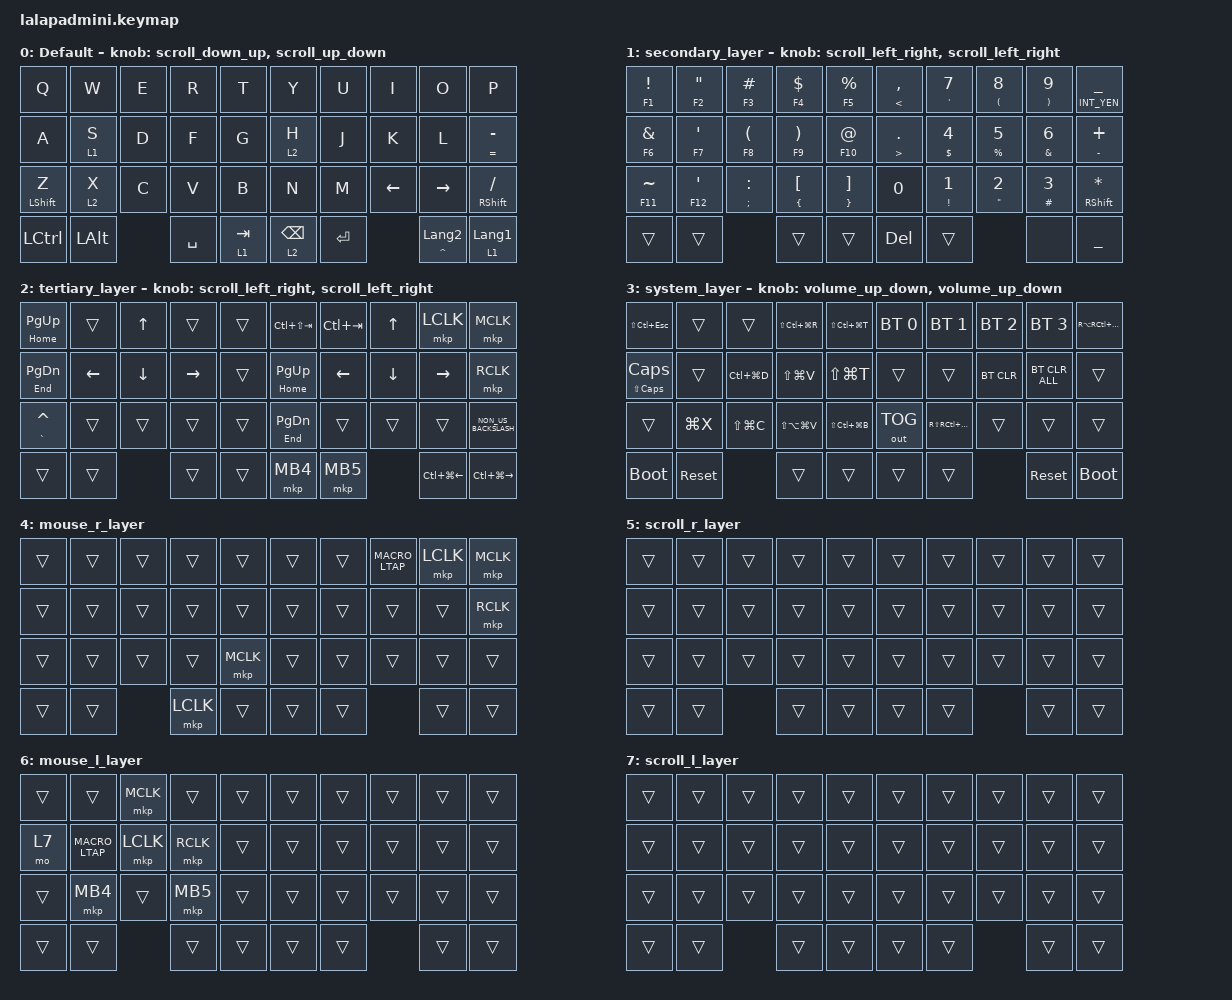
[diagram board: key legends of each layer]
#include <input/processors.dtsi>
#include <behaviors.dtsi>
#include <dt-bindings/zmk/bt.h>
#include <dt-bindings/zmk/keys.h>
#include <dt-bindings/zmk/outputs.h>
#include <dt-bindings/zmk/pointing.h>

#define DEFAULT_LAYER   0
#define SECONDARY_LAYER 1
#define TERTIARY_LAYER  2
#define SYSTEM_LAYER    3
#define MOUSE_R_LAYER   4
#define SCROLL_R_LAYER  5
#define MOUSE_L_LAYER   6
#define SCROLL_L_LAYER  7

// Mouse Scroll Value

#define ZMK_POINTING_DEFAULT_SCRL_VAL 100

// cirque trackpad input&layer control

&glidepoint_listener_R {
    input-processors =
        <&zip_xy_transform (INPUT_TRANSFORM_XY_SWAP | INPUT_TRANSFORM_X_INVERT | INPUT_TRANSFORM_Y_INVERT)>,
        <&zip_xy_scaler 3 2>,
        <&zip_temp_layer MOUSE_R_LAYER 300>;

    lowspeedmode {
        layers = <SECONDARY_LAYER>;
        input-processors =
            <&zip_xy_transform (INPUT_TRANSFORM_XY_SWAP | INPUT_TRANSFORM_X_INVERT | INPUT_TRANSFORM_Y_INVERT)>,
            <&zip_xy_scaler 3 5>,
            <&zip_temp_layer MOUSE_R_LAYER 300>;
    };

    scroller {
        layers = <SCROLL_R_LAYER>;
        input-processors =
            <&zip_xy_to_scroll_mapper>,
            <&zip_scroll_transform (INPUT_TRANSFORM_XY_SWAP | INPUT_TRANSFORM_Y_INVERT)>,
            <&zip_scroll_scaler 1 32>;
    };
};

&glidepoint_listener_L {
    input-processors =
        <&zip_xy_transform (INPUT_TRANSFORM_XY_SWAP | INPUT_TRANSFORM_X_INVERT | INPUT_TRANSFORM_Y_INVERT)>,
        <&zip_xy_scaler 3 2>,
        <&zip_temp_layer MOUSE_L_LAYER 300>;

    lowspeedmode {
        layers = <TERTIARY_LAYER>;
        input-processors =
            <&zip_xy_transform (INPUT_TRANSFORM_XY_SWAP | INPUT_TRANSFORM_X_INVERT | INPUT_TRANSFORM_Y_INVERT)>,
            <&zip_xy_scaler 3 4>,
            <&zip_temp_layer MOUSE_L_LAYER 300>;
    };

    scroller {
        layers = <SCROLL_L_LAYER>;
        input-processors =
            <&zip_xy_to_scroll_mapper>,
            <&zip_scroll_transform (INPUT_TRANSFORM_XY_SWAP | INPUT_TRANSFORM_Y_INVERT)>,
            <&zip_scroll_scaler 1 32>;
    };
};

&mt { quick-tap-ms = <200>; };

&lt { quick-tap-ms = <200>; };

/ {
    behaviors {
        // Encoder to Mouse Scroll

        scroll_up_down: behavior_sensor_rotate_mouse_wheel_up_down {
            compatible = "zmk,behavior-sensor-rotate";
            #sensor-binding-cells = <0>;
            bindings = <&msc SCRL_UP>, <&msc SCRL_DOWN>;

            tap-ms = <20>;
        };

        scroll_down_up: behavior_sensor_rotate_mouse_wheel_down_up {
            compatible = "zmk,behavior-sensor-rotate";
            #sensor-binding-cells = <0>;
            bindings = <&msc SCRL_DOWN>, <&msc SCRL_UP>;

            tap-ms = <20>;
        };

        scroll_left_right: behavior_sensor_rotate_mouse_wheel_left_right {
            compatible = "zmk,behavior-sensor-rotate";
            #sensor-binding-cells = <0>;
            bindings = <&msc SCRL_LEFT>, <&msc SCRL_RIGHT>;

            tap-ms = <20>;
        };

        scroll_right_left: behavior_sensor_rotate_mouse_wheel_right_left {
            compatible = "zmk,behavior-sensor-rotate";
            #sensor-binding-cells = <0>;
            bindings = <&msc SCRL_RIGHT>, <&msc SCRL_LEFT>;

            tap-ms = <20>;
        };

        volume_up_down: behavior_sensor_rotate_volume_up_down {
            compatible = "zmk,behavior-sensor-rotate";
            #sensor-binding-cells = <0>;
            bindings = <&kp C_VOLUME_UP>, <&kp C_VOLUME_DOWN>;

            tap-ms = <20>;
        };

        mt2: mod_tap2 {
            compatible = "zmk,behavior-hold-tap";
            #binding-cells = <2>;
            flavor = "tap-preferred";
            tapping-term-ms = <200>;
            quick-tap-ms = <200>;
            require-prior-idle-ms = <125>;
            bindings = <&kp>, <&kp>;
        };

        tap_dance_layer_1and2: tap_dance_layer_1and2 {
            compatible = "zmk,behavior-tap-dance";
            label = "td_mo12";
            #binding-cells = <0>;
            bindings = <&mo 1>, <&mo 2>;
        };
    };

    combos {
        compatible = "zmk,combos";

        CONBO_ESC {
            bindings = <&kp ESCAPE>;
            key-positions = <0 1>;
        };

        COMBO_TAB {
            bindings = <&kp TAB>;
            key-positions = <10 11>;
        };

        COMBO_WIN {
            bindings = <&kp LWIN>;
            key-positions = <30 31>;
        };

        ACT-WIN-PSCEN {
            bindings = <&kt LA(LG(PRINTSCREEN))>;
            key-positions = <34 37>;
        };
    };

    macros {
        MACRO_LTAP: MACRO_LTAP {
            compatible = "zmk,behavior-macro";
            #binding-cells = <0>;
            bindings = <&mkp LCLK>;
            label = "MACRO_LTAP";
        };
    };

    keymap {
        compatible = "zmk,keymap";

        DEFAULT_LAYER {
            display-name = "Default";
            sensor-bindings = <&scroll_down_up>, <&scroll_up_down>;

            bindings = <
&kp Q             &kp W         &kp E  &kp R      &kp T      &kp Y            &kp U      &kp I           &kp O                 &kp P
&kp A             &lt 1 S       &kp D  &kp F      &kp G      &lt 2 H          &kp J      &kp K           &kp L                 &mt2 EQUAL MINUS
&mt LEFT_SHIFT Z  &lt 2 X       &kp C  &kp V      &kp B      &kp N            &kp M      &kp LEFT_ARROW  &kp RIGHT_ARROW       &mt RSHIFT SLASH
&kp LCTRL         &kp LEFT_ALT         &kp SPACE  &lt 1 TAB  &lt 2 BACKSPACE  &kp ENTER                  &mt CARET LANGUAGE_2  &lt 1 LANGUAGE_1
            >;
        };

        SECONDARY_LAYER {
            display-name = "secondary_layer";
            sensor-bindings = <&scroll_left_right>, <&scroll_left_right>;

            bindings = <
&mt2 F1 EXCLAMATION  &mt2 F2 DOUBLE_QUOTES  &mt2 F3 HASH              &mt2 F4 DOLLAR                &mt2 F5 PERCENT                 &mt LESS_THAN COMMA      &mt SQT N7                &mt LEFT_PARENTHESIS N8     &mt RIGHT_PARENTHESIS N9  &mt INT_YEN UNDERSCORE
&mt2 F6 AMPERSAND    &mt2 F7 SQT            &mt2 F8 LEFT_PARENTHESIS  &mt2 F9 RIGHT_PARENTHESIS     &mt2 F10 AT_SIGN                &mt GREATER_THAN PERIOD  &mt DOLLAR NUMBER_4       &mt PERCENT N5              &mt AMPERSAND NUMBER_6    &mt MINUS PLUS
&mt2 F11 TILDE       &mt2 F12 SQT           &mt2 SEMICOLON COLON      &mt2 LEFT_BRACE LEFT_BRACKET  &mt2 RIGHT_BRACE RIGHT_BRACKET  &kp N0                   &mt EXCLAMATION NUMBER_1  &mt DOUBLE_QUOTES NUMBER_2  &mt HASH NUMBER_3         &mt RIGHT_SHIFT ASTERISK
&trans               &trans                                           &trans                        &trans                          &kp DELETE               &trans                                                &none                     &kp UNDERSCORE
            >;
        };

        TERTIARY_LAYER {
            display-name = "tertiary_layer";
            bindings = <
&mt HOME PAGE_UP   &trans          &kp UP          &trans           &trans  &kp LC(LS(TAB))    &kp LC(TAB)  &kp UP_ARROW  &mkp LCLK               &mkp MCLK
&mt END PAGE_DOWN  &kp LEFT_ARROW  &kp DOWN_ARROW  &kp RIGHT_ARROW  &trans  &mt HOME PAGE_UP   &kp LEFT     &kp DOWN      &kp RIGHT               &mkp RCLK
&mt GRAVE CARET    &trans          &trans          &trans           &trans  &mt END PAGE_DOWN  &trans       &trans        &trans                  &kp NON_US_BACKSLASH
&trans             &trans                          &trans           &trans  &mkp MB4           &mkp MB5                   &kp LC(LG(LEFT_ARROW))  &kp LC(LG(RIGHT_ARROW))
            >;

            sensor-bindings = <&scroll_left_right>, <&scroll_left_right>;
        };

        SYSTEM_LAYER {
            display-name = "system_layer";
            sensor-bindings = <&volume_up_down>, <&volume_up_down>;

            bindings = <
&kp LS(LC(ESCAPE))  &trans      &trans         &kp LS(LC(LG(R)))  &kp LS(LC(LG(T)))  &bt BT_SEL 0  &bt BT_SEL 1       &bt BT_SEL 2  &bt BT_SEL 3    &kp RA(RC(DELETE))
&mt LS(CAPS) CAPS   &trans      &kp LC(LG(D))  &kp LS(LG(V))      &kp LS(LG(T))      &trans        &trans             &bt BT_CLR    &bt BT_CLR_ALL  &trans
&trans              &kp LG(X)   &kp LS(LG(C))  &kp LS(LA(LG(V)))  &kp LS(LC(LG(B)))  &out OUT_TOG  &kp RS(RC(LG(M)))  &trans        &trans          &trans
&bootloader         &sys_reset                 &trans             &trans             &trans        &trans                           &sys_reset      &bootloader
            >;
        };

        MOUSE_R_LAYER {
            display-name = "mouse_r_layer";
            bindings = <
&trans  &trans  &trans  &trans     &trans     &trans  &trans  &MACRO_LTAP  &mkp LCLK  &mkp MCLK
&trans  &trans  &trans  &trans     &trans     &trans  &trans  &trans       &trans     &mkp RCLK
&trans  &trans  &trans  &trans     &mkp MCLK  &trans  &trans  &trans       &trans     &trans
&trans  &trans          &mkp LCLK  &trans     &trans  &trans               &trans     &trans
            >;
        };

        SCROLL_R_LAYER {
            display-name = "scroll_r_layer";
            bindings = <
&trans  &trans  &trans  &trans  &trans  &trans  &trans  &trans  &trans  &trans
&trans  &trans  &trans  &trans  &trans  &trans  &trans  &trans  &trans  &trans
&trans  &trans  &trans  &trans  &trans  &trans  &trans  &trans  &trans  &trans
&trans  &trans          &trans  &trans  &trans  &trans          &trans  &trans
            >;
        };

        MOUSE_L_LAYER {
            display-name = "mouse_l_layer";
            bindings = <
&trans  &trans       &mkp MCLK  &trans     &trans  &trans  &trans  &trans  &trans  &trans
&mo 7   &MACRO_LTAP  &mkp LCLK  &mkp RCLK  &trans  &trans  &trans  &trans  &trans  &trans
&trans  &mkp MB4     &trans     &mkp MB5   &trans  &trans  &trans  &trans  &trans  &trans
&trans  &trans                  &trans     &trans  &trans  &trans          &trans  &trans
            >;
        };

        SCROLL_L_LAYER {
            display-name = "scroll_l_layer";
            bindings = <
&trans  &trans  &trans  &trans  &trans  &trans  &trans  &trans  &trans  &trans
&trans  &trans  &trans  &trans  &trans  &trans  &trans  &trans  &trans  &trans
&trans  &trans  &trans  &trans  &trans  &trans  &trans  &trans  &trans  &trans
&trans  &trans          &trans  &trans  &trans  &trans          &trans  &trans
            >;
        };
    };

    conditional_layers {
        compatible = "zmk,conditional-layers";

        System_layer {
            if-layers = <1 2>;
            then-layer = <3>;
        };
    };
};
